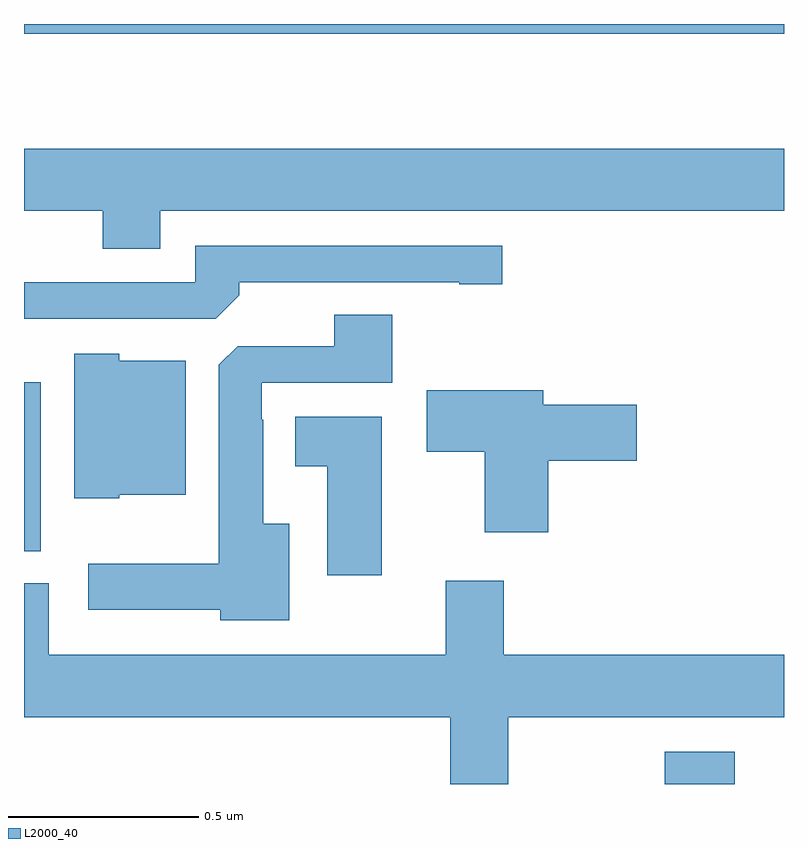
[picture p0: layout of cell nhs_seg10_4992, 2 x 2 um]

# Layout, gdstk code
import gdstk
lib = gdstk.Library(unit=1e-6, precision=1e-09)
def R(c, l, rs):  # rectangles x0, y0, x1, y1
    for r in rs: c.add(gdstk.rectangle(r[:2], r[2:], *l))
def P(c, l, *ps):  # polygons
    for p in ps: c.add(gdstk.Polygon(p, *l))
L2000_40 = (2000, 40)

nhs_seg10_4992 = lib.new_cell('nhs_seg10_4992')
R(nhs_seg10_4992, L2000_40, [(174.686,1273.5,174.871,1273.585), (173,1274.113,173.044,1274.557), (173,1275.474,175,1275.5)])
P(nhs_seg10_4992, L2000_40, [(173.359,1275.008),(175,1275.008),(175,1275.172),(173,1275.172),(173,1275.008),(173.207,1275.008),(173.207,1274.909),(173.359,1274.909)],
  [(173.567,1274.786),(173.567,1274.82),(174.146,1274.82),(174.146,1274.815),(174.259,1274.815),(174.259,1274.916),(173.451,1274.916),(173.451,1274.82),(173,1274.82),(173,1274.724),(173.505,1274.724)],
  [(173.698,1274.185),(173.629,1274.185),(173.629,1274.459),(173.625,1274.459),(173.625,1274.556),(173.969,1274.556),(173.969,1274.735),(173.816,1274.735),(173.816,1274.652),(173.562,1274.652),(173.513,1274.603),(173.513,1274.08),(173.169,1274.08),(173.169,1273.958),(173.517,1273.958),(173.517,1273.931),(173.698,1273.931)],
  [(173.25,1274.261),(173.425,1274.261),(173.425,1274.614),(173.25,1274.614),(173.25,1274.632),(173.132,1274.632),(173.132,1274.252),(173.25,1274.252)],
  [(174.38,1274.351),(174.613,1274.351),(174.613,1274.498),(174.367,1274.498),(174.367,1274.536),(174.06,1274.536),(174.06,1274.374),(174.212,1274.374),(174.212,1274.163),(174.38,1274.163)],
  [(173.941,1274.467),(173.714,1274.467),(173.714,1274.336),(173.798,1274.336),(173.798,1274.049),(173.941,1274.049)],
  [(174.274,1273.676),(175,1273.676),(175,1273.84),(174.263,1273.84),(174.263,1274.035),(174.11,1274.035),(174.11,1273.84),(173.065,1273.84),(173.065,1274.028),(173,1274.028),(173,1273.676),(174.122,1273.676),(174.122,1273.5),(174.274,1273.5)])

lib.write_gds('nhs_seg10_4992.gds')
